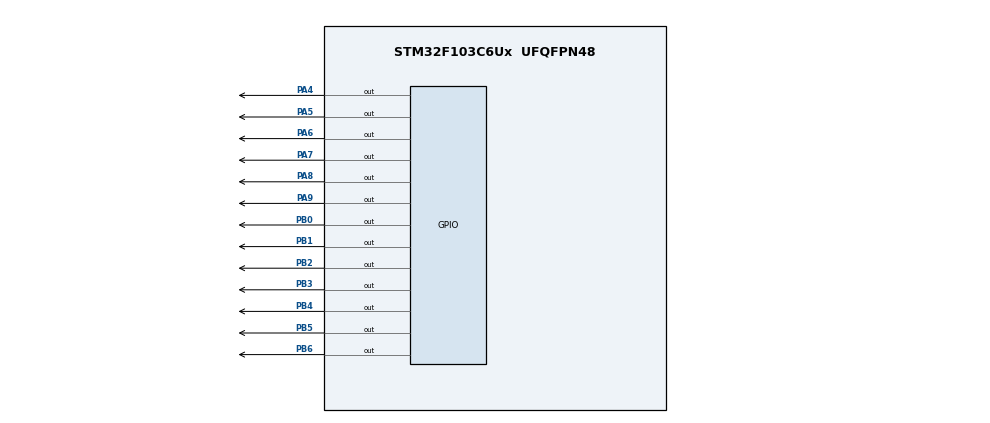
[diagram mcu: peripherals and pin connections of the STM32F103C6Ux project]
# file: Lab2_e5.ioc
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Mcu.Family=STM32F1
Mcu.Name=STM32F103C6Ux
Mcu.Package=UFQFPN48
NVIC.PriorityGroup=NVIC_PRIORITYGROUP_4
NVIC.TIM2_IRQn=true\:0\:0\:false\:false\:true\:true\:true
PA4.PinState=GPIO_PIN_SET
PA4.Signal=GPIO_Output
PA5.PinState=GPIO_PIN_SET
PA5.Signal=GPIO_Output
PA6.PinState=GPIO_PIN_SET
PA6.Signal=GPIO_Output
PA7.PinState=GPIO_PIN_SET
PA7.Signal=GPIO_Output
PA8.PinState=GPIO_PIN_SET
PA8.Signal=GPIO_Output
PA9.PinState=GPIO_PIN_SET
PA9.Signal=GPIO_Output
PB0.PinState=GPIO_PIN_SET
PB0.Signal=GPIO_Output
PB1.PinState=GPIO_PIN_SET
PB1.Signal=GPIO_Output
PB2.PinState=GPIO_PIN_SET
PB2.Signal=GPIO_Output
PB3.PinState=GPIO_PIN_SET
PB3.Signal=GPIO_Output
PB4.PinState=GPIO_PIN_SET
PB4.Signal=GPIO_Output
PB5.PinState=GPIO_PIN_SET
PB5.Signal=GPIO_Output
PB6.PinState=GPIO_PIN_SET
PB6.Signal=GPIO_Output
ProjectManager.HeapSize=0x200
ProjectManager.StackSize=0x400
ProjectManager.TargetToolchain=STM32CubeIDE
RCC.APB1Freq_Value=8000000
RCC.APB2Freq_Value=8000000
TIM2.Period=9
TIM2.Prescaler=7999
VP_SYS_VS_ND.Mode=No_Debug
VP_TIM2_VS_ClockSourceINT.Mode=Internal
board=custom

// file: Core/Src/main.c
/* USER CODE BEGIN Header */
/**
  ******************************************************************************
  * @file           : main.c
  * @brief          : Main program body
  ******************************************************************************
  * @attention
  *
  * <h2><center>&copy; Copyright (c) 2026 STMicroelectronics.
  * All rights reserved.</center></h2>
  *
  * This software component is licensed by ST under BSD 3-Clause license,
  * the "License"; You may not use this file except in compliance with the
  * License. You may obtain a copy of the License at:
  *                        opensource.org/licenses/BSD-3-Clause
  *
  ******************************************************************************
  */
/* USER CODE END Header */

#include "main.h"

/* USER CODE BEGIN PD */

#define SEG_A_PIN                  GPIO_PIN_0
#define SEG_B_PIN                  GPIO_PIN_1
#define SEG_C_PIN                  GPIO_PIN_2
#define SEG_D_PIN                  GPIO_PIN_3
#define SEG_E_PIN                  GPIO_PIN_4
#define SEG_F_PIN                  GPIO_PIN_5
#define SEG_G_PIN                  GPIO_PIN_6
#define SEGMENT_GPIO_PORT          GPIOB

#define SEGMENT_PINS              (SEG_A_PIN | SEG_B_PIN | SEG_C_PIN | \
                                   SEG_D_PIN | SEG_E_PIN | SEG_F_PIN | \
                                   SEG_G_PIN)

#define EN0_PIN                    GPIO_PIN_6
#define EN1_PIN                    GPIO_PIN_7
#define EN2_PIN                    GPIO_PIN_8
#define EN3_PIN                    GPIO_PIN_9
#define DIGIT_ENABLE_GPIO_PORT     GPIOA

#define DIGIT_ENABLE_PINS         (EN0_PIN | EN1_PIN | EN2_PIN | EN3_PIN)

#define DOT_PIN                    GPIO_PIN_4
#define DOT_GPIO_PORT              GPIOA

#define AUX_LED_PIN                GPIO_PIN_5
#define AUX_LED_GPIO_PORT          GPIOA

#define MAX_DIGITS                 4U
#define DIGIT_SLOT_TICKS           25U
#define DOT_TOGGLE_TICKS           100U

/* USER CODE END PD */

TIM_HandleTypeDef htim2;

/* USER CODE BEGIN PV */

static volatile uint16_t digit_tick_count = 0U;
static volatile uint16_t dot_tick_count = 0U;

const int MAX_LED = 4;
volatile int index_led = 0;
volatile int led_buffer[4] = {0, 0, 0, 0};

int hour = 15;
int minute = 8;
int second = 50;

/* USER CODE END PV */

void SystemClock_Config(void);
static void MX_GPIO_Init(void);
static void MX_TIM2_Init(void);

/* USER CODE BEGIN PFP */

static void disableAllDigits(void);
static void selectDigit(uint8_t index);
void display7SEG(int num);
void update7SEG(int index);
void updateClockBuffer(void);

/* USER CODE END PFP */

/* USER CODE BEGIN 0 */

static void disableAllDigits(void)
{
  HAL_GPIO_WritePin(DIGIT_ENABLE_GPIO_PORT,
                    DIGIT_ENABLE_PINS,
                    GPIO_PIN_SET);
}

static void selectDigit(uint8_t index)
{
  static const uint16_t enable_pins[MAX_DIGITS] =
  {
    EN0_PIN,
    EN1_PIN,
    EN2_PIN,
    EN3_PIN
  };

  if (index < MAX_DIGITS)
  {
    HAL_GPIO_WritePin(DIGIT_ENABLE_GPIO_PORT,
                      enable_pins[index],
                      GPIO_PIN_RESET);
  }
}

void display7SEG(int num)
{
  static const uint16_t digit_pattern[10] =
  {
    0x3FU,
    0x06U,
    0x5BU,
    0x4FU,
    0x66U,
    0x6DU,
    0x7DU,
    0x07U,
    0x7FU,
    0x6FU
  };

  uint16_t on_pins;
  uint16_t off_pins;

  if ((num < 0) || (num > 9))
  {
    HAL_GPIO_WritePin(SEGMENT_GPIO_PORT,
                      SEGMENT_PINS,
                      GPIO_PIN_SET);
    return;
  }

  on_pins = digit_pattern[num] & SEGMENT_PINS;
  off_pins = SEGMENT_PINS & (uint16_t)(~on_pins);

  SEGMENT_GPIO_PORT->BSRR =
      (uint32_t)off_pins |
      ((uint32_t)on_pins << 16U);
}

void update7SEG(int index)
{
  disableAllDigits();

  switch (index)
  {
    case 0:
      display7SEG(led_buffer[0]);
      selectDigit(0U);
      break;

    case 1:
      display7SEG(led_buffer[1]);
      selectDigit(1U);
      break;

    case 2:
      display7SEG(led_buffer[2]);
      selectDigit(2U);
      break;

    case 3:
      display7SEG(led_buffer[3]);
      selectDigit(3U);
      break;

    default:
      break;
  }
}

void updateClockBuffer(void)
{
  led_buffer[0] = hour / 10;
  led_buffer[1] = hour % 10;
  led_buffer[2] = minute / 10;
  led_buffer[3] = minute % 10;
}

/* USER CODE END 0 */

int main(void)
{

  /* MCU Configuration--------------------------------------------------------*/

  /* Reset of all peripherals, Initializes the Flash interface and the Systick. */
  HAL_Init();

  /* Configure the system clock */
  SystemClock_Config();

  /* Initialize all configured peripherals */
  MX_GPIO_Init();
  MX_TIM2_Init();

  /* USER CODE BEGIN 2 */

  digit_tick_count = 0U;
  dot_tick_count = 0U;
  index_led = 0;

  HAL_GPIO_WritePin(AUX_LED_GPIO_PORT,
                    AUX_LED_PIN,
                    GPIO_PIN_SET);

  HAL_GPIO_WritePin(DOT_GPIO_PORT,
                    DOT_PIN,
                    GPIO_PIN_SET);

  updateClockBuffer();

  update7SEG(index_led);

  index_led++;

  if (index_led >= MAX_LED)
  {
    index_led = 0;
  }

  if (HAL_TIM_Base_Start_IT(&htim2) != HAL_OK)
  {
    Error_Handler();
  }

  /* USER CODE END 2 */

  /* Infinite loop */
  while (1)
  {

    /* USER CODE BEGIN 3 */

    HAL_Delay(1000);

    second++;

    if (second >= 60)
    {
      second = 0;
      minute++;
    }

    if (minute >= 60)
    {
      minute = 0;
      hour++;
    }

    if (hour >= 24)
    {
      hour = 0;
    }

    updateClockBuffer();
  }

  /* USER CODE END 3 */
}

void SystemClock_Config(void)
{
  RCC_OscInitTypeDef RCC_OscInitStruct = {0};
  RCC_ClkInitTypeDef RCC_ClkInitStruct = {0};

  /** Initializes the RCC Oscillators according to the specified parameters
  * in the RCC_OscInitTypeDef structure.
  */
  RCC_OscInitStruct.OscillatorType = RCC_OSCILLATORTYPE_HSI;
  RCC_OscInitStruct.HSIState = RCC_HSI_ON;
  RCC_OscInitStruct.HSICalibrationValue = RCC_HSICALIBRATION_DEFAULT;
  RCC_OscInitStruct.PLL.PLLState = RCC_PLL_NONE;

  if (HAL_RCC_OscConfig(&RCC_OscInitStruct) != HAL_OK)
  {
    Error_Handler();
  }

  /** Initializes the CPU, AHB and APB buses clocks
  */
  RCC_ClkInitStruct.ClockType = RCC_CLOCKTYPE_HCLK |
                                RCC_CLOCKTYPE_SYSCLK |
                                RCC_CLOCKTYPE_PCLK1 |
                                RCC_CLOCKTYPE_PCLK2;

  RCC_ClkInitStruct.SYSCLKSource = RCC_SYSCLKSOURCE_HSI;
  RCC_ClkInitStruct.AHBCLKDivider = RCC_SYSCLK_DIV1;
  RCC_ClkInitStruct.APB1CLKDivider = RCC_HCLK_DIV1;
  RCC_ClkInitStruct.APB2CLKDivider = RCC_HCLK_DIV1;

  if (HAL_RCC_ClockConfig(&RCC_ClkInitStruct,
                          FLASH_LATENCY_0) != HAL_OK)
  {
    Error_Handler();
  }
}

static void MX_TIM2_Init(void)
{

  TIM_ClockConfigTypeDef sClockSourceConfig = {0};
  TIM_MasterConfigTypeDef sMasterConfig = {0};

  htim2.Instance = TIM2;
  htim2.Init.Prescaler = 7999;
  htim2.Init.CounterMode = TIM_COUNTERMODE_UP;
  htim2.Init.Period = 9;
  htim2.Init.ClockDivision = TIM_CLOCKDIVISION_DIV1;
  htim2.Init.AutoReloadPreload = TIM_AUTORELOAD_PRELOAD_DISABLE;

  if (HAL_TIM_Base_Init(&htim2) != HAL_OK)
  {
    Error_Handler();
  }

  sClockSourceConfig.ClockSource = TIM_CLOCKSOURCE_INTERNAL;

  if (HAL_TIM_ConfigClockSource(&htim2,
                                &sClockSourceConfig) != HAL_OK)
  {
    Error_Handler();
  }

  sMasterConfig.MasterOutputTrigger = TIM_TRGO_RESET;
  sMasterConfig.MasterSlaveMode = TIM_MASTERSLAVEMODE_DISABLE;

  if (HAL_TIMEx_MasterConfigSynchronization(&htim2,
                                             &sMasterConfig) != HAL_OK)
  {
    Error_Handler();
  }

}

static void MX_GPIO_Init(void)
{
  GPIO_InitTypeDef GPIO_InitStruct = {0};

  /* GPIO Ports Clock Enable */
  __HAL_RCC_GPIOA_CLK_ENABLE();
  __HAL_RCC_GPIOB_CLK_ENABLE();

  /*Configure GPIO pin Output Level */
  HAL_GPIO_WritePin(GPIOA,
                    GPIO_PIN_4 |
                    GPIO_PIN_5 |
                    GPIO_PIN_6 |
                    GPIO_PIN_7 |
                    GPIO_PIN_8 |
                    GPIO_PIN_9,
                    GPIO_PIN_SET);

  /*Configure GPIO pin Output Level */
  HAL_GPIO_WritePin(GPIOB,
                    GPIO_PIN_0 |
                    GPIO_PIN_1 |
                    GPIO_PIN_2 |
                    GPIO_PIN_3 |
                    GPIO_PIN_4 |
                    GPIO_PIN_5 |
                    GPIO_PIN_6,
                    GPIO_PIN_SET);

  /*Configure GPIO pins : PA4 PA5 PA6 PA7
                           PA8 PA9 */
  GPIO_InitStruct.Pin = GPIO_PIN_4 |
                        GPIO_PIN_5 |
                        GPIO_PIN_6 |
                        GPIO_PIN_7 |
                        GPIO_PIN_8 |
                        GPIO_PIN_9;

  GPIO_InitStruct.Mode = GPIO_MODE_OUTPUT_PP;
  GPIO_InitStruct.Pull = GPIO_NOPULL;
  GPIO_InitStruct.Speed = GPIO_SPEED_FREQ_LOW;

  HAL_GPIO_Init(GPIOA, &GPIO_InitStruct);

  /*Configure GPIO pins : PB0 PB1 PB2 PB3
                           PB4 PB5 PB6 */
  GPIO_InitStruct.Pin = GPIO_PIN_0 |
                        GPIO_PIN_1 |
                        GPIO_PIN_2 |
                        GPIO_PIN_3 |
                        GPIO_PIN_4 |
                        GPIO_PIN_5 |
                        GPIO_PIN_6;

  GPIO_InitStruct.Mode = GPIO_MODE_OUTPUT_PP;
  GPIO_InitStruct.Pull = GPIO_NOPULL;
  GPIO_InitStruct.Speed = GPIO_SPEED_FREQ_LOW;

  HAL_GPIO_Init(GPIOB, &GPIO_InitStruct);
}

/* USER CODE BEGIN 4 */

void HAL_TIM_PeriodElapsedCallback(TIM_HandleTypeDef *htim)
{
  if (htim->Instance != TIM2)
  {
    return;
  }

  digit_tick_count++;
  dot_tick_count++;

  if (digit_tick_count >= DIGIT_SLOT_TICKS)
  {
    digit_tick_count = 0U;

    update7SEG(index_led);

    index_led++;

    if (index_led >= MAX_LED)
    {
      index_led = 0;
    }
  }

  if (dot_tick_count >= DOT_TOGGLE_TICKS)
  {
    dot_tick_count = 0U;

    HAL_GPIO_TogglePin(DOT_GPIO_PORT,
                       DOT_PIN);
  }
}

/* USER CODE END 4 */

void Error_Handler(void)
{
  __disable_irq();
  while (1)
  {
  }
}

#ifdef USE_FULL_ASSERT

/**
  * @brief  Reports the name of the source file and the source line number
  *         where the assert_param error has occurred.
  * @param  file: pointer to the source file name
  * @param  line: assert_param error line source number
  * @retval None
  */
void assert_failed(uint8_t *file, uint32_t line)
{
  /* USER CODE BEGIN 6 */

  (void)file;
  (void)line;

  /* USER CODE END 6 */
}

#endif

/************************ (C) COPYRIGHT STMicroelectronics *****END OF FILE****/
